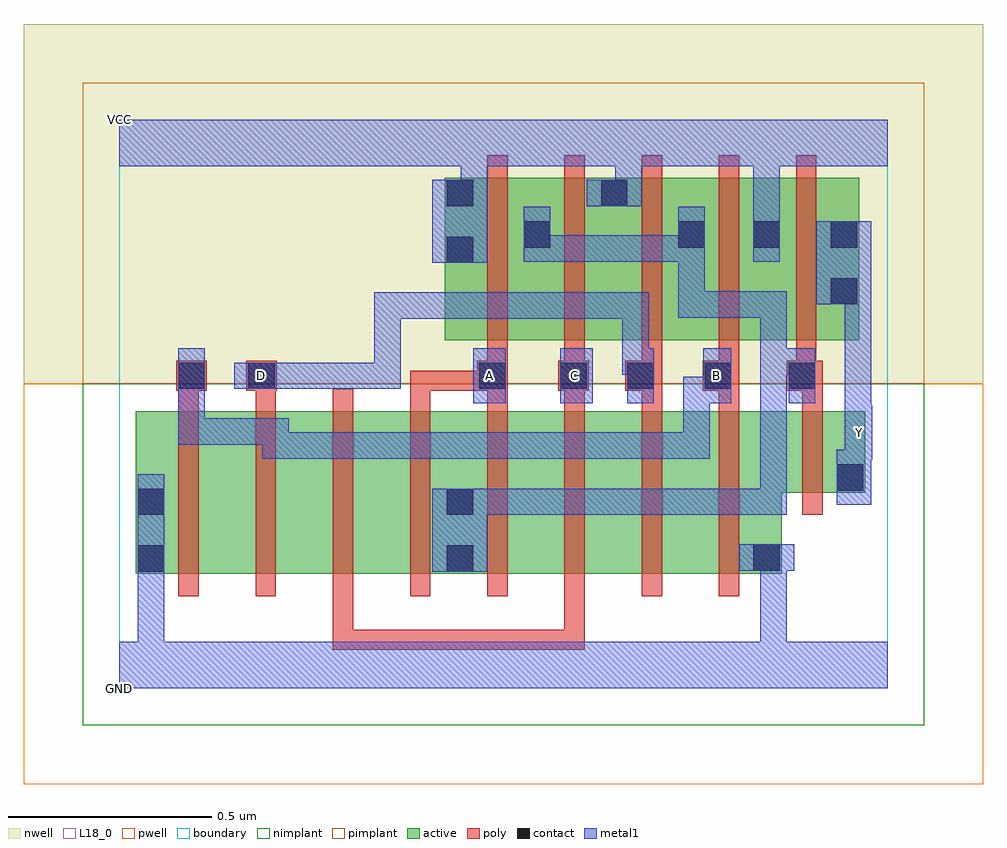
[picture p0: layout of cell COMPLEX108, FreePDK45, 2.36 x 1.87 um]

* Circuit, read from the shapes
.subckt COMPLEX108 A B C D GND VCC Y
M1 n1 B GND VSUBS nfet w=0.4u l=0.05u
M2 n2 D n1 VSUBS nfet w=0.4u l=0.05u
M3 n3 C n2 VSUBS nfet w=0.4u l=0.05u
M4 n4 A n3 VSUBS nfet w=0.4u l=0.05u
M5 n5 A n4 VSUBS nfet w=0.4u l=0.05u
M6 n6 C n5 VSUBS nfet w=0.4u l=0.05u
M7 n7 D n6 VSUBS nfet w=0.4u l=0.05u
M8 GND B n7 VSUBS nfet w=0.4u l=0.05u
M9 Y n4 GND VSUBS nfet w=0.2u l=0.05u
M10 n4 A VCC n8 pfet w=0.4u l=0.05u
M11 VCC C n4 n8 pfet w=0.4u l=0.05u
M12 n4 D VCC n8 pfet w=0.4u l=0.05u
M13 VCC B n4 n8 pfet w=0.4u l=0.05u
M14 Y n4 VCC n8 pfet w=0.4u l=0.05u
.ends

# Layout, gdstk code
import gdstk
lib = gdstk.Library(unit=1e-6, precision=1e-09)
def R(c, l, rs):  # rectangles x0, y0, x1, y1
    for r in rs: c.add(gdstk.rectangle(r[:2], r[2:], *l))
def A(c, l, x, y, w, h, nx, ny, dx, dy):  # array of equal rectangles
    R(c, l, [(x+i*dx, y+j*dy, x+i*dx+w, y+j*dy+h) for i in range(nx) for j in range(ny)])
active = (1, 0)
pwell = (2, 0)
nwell = (3, 0)
nimplant = (4, 0)
pimplant = (5, 0)
poly = (9, 0)
contact = (10, 0)
metal1 = (11, 0)
L18_0 = (18, 0)
boundary = (235, 0)

complex108 = lib.new_cell('COMPLEX108')
A(complex108, active, 0.8, 0.857, 0.265, 0.4, 3, 1, 0.19, 0)
R(complex108, active, [(0.04,0.282,0.265,0.682), (0.04,0.282,0.115,0.682), (0.265,0.282,0.455,0.682), (0.455,0.282,0.645,0.682), (0.645,0.282,0.875,0.682), (0.8,0.282,1.025,0.682), (0.8,0.282,0.875,0.617), (1.025,0.282,1.215,0.682), (1.215,0.282,1.405,0.682), (1.405,0.282,1.63,0.682), (1.555,0.282,1.63,0.482), (1.555,0.482,1.835,0.682), (1.76,0.482,1.835,0.682), (0.8,0.857,0.875,1.257), (1.37,0.857,1.63,1.257), (1.555,0.857,1.63,1.257), (1.555,0.857,1.82,1.257), (1.745,0.857,1.82,1.2), (0.99,0.907,1.065,1.2), (1.18,0.907,1.255,1.257), (1.37,0.907,1.445,1.2)])
R(complex108, pwell, [(-0.235,-0.235,2.125,0.75)])
R(complex108, nwell, [(-0.235,0.75,2.125,1.635)])
R(complex108, nimplant, [(-0.09,-0.09,1.98,0.75)])
R(complex108, pimplant, [(-0.09,0.75,1.98,1.49)])
A(complex108, poly, 0.145, 0.227, 0.05, 0.51, 8, 1, 0.19, 0)
A(complex108, poly, 0.715, 0.687, 0.05, 0.095, 5, 1, 0.19, 0)
A(complex108, poly, 0.905, 0.757, 0.05, 0.095, 5, 1, 0.19, 0)
A(complex108, poly, 0.905, 0.802, 0.05, 0.51, 5, 1, 0.19, 0)
R(complex108, poly, [(0.525,0.095,0.575,0.277), (0.525,0.095,0.575,0.145), (0.525,0.095,0.575,0.145), (0.525,0.095,0.575,0.145), (0.525,0.095,0.765,0.145), (0.715,0.095,0.765,0.145), (0.715,0.095,0.765,0.145), (0.715,0.095,0.765,0.145), (0.715,0.095,0.897,0.145), (0.847,0.095,1.145,0.145), (0.847,0.095,0.897,0.145), (0.847,0.095,0.897,0.145), (0.847,0.095,0.897,0.145), (1.095,0.095,1.145,0.277), (1.095,0.095,1.145,0.145), (1.68,0.427,1.73,0.737), (0.145,0.687,0.195,0.782), (0.335,0.687,0.385,0.782), (1.68,0.687,1.73,0.782), (0.14,0.732,0.215,0.807), (0.312,0.732,0.387,0.807), (0.715,0.732,0.765,0.782), (0.715,0.732,0.765,0.782), (0.715,0.732,0.765,0.782), (0.715,0.732,0.93,0.782), (0.88,0.732,0.955,0.807), (1.08,0.732,1.155,0.807), (1.245,0.732,1.335,0.807), (1.435,0.732,1.525,0.807), (1.642,0.732,1.73,0.807)])
R(complex108, contact, [(0.045,0.287,0.11,0.352), (0.805,0.287,0.87,0.352), (1.56,0.29,1.625,0.355), (0.045,0.427,0.11,0.492), (0.805,0.427,0.87,0.492), (1.765,0.487,1.83,0.552), (0.145,0.737,0.21,0.802), (0.317,0.737,0.382,0.802), (0.885,0.737,0.95,0.802), (1.085,0.737,1.15,0.802), (1.25,0.737,1.315,0.802), (1.44,0.737,1.505,0.802), (1.647,0.737,1.712,0.802), (1.75,0.945,1.815,1.01), (0.805,1.047,0.87,1.112), (0.995,1.085,1.06,1.15), (1.375,1.085,1.44,1.15), (1.56,1.085,1.625,1.15), (1.75,1.085,1.815,1.15), (0.805,1.187,0.87,1.252), (1.185,1.187,1.25,1.252)])
R(complex108, metal1, [(0,0,1.89,0.115), (0.045,0.05,0.11,0.115), (0.045,0.05,0.11,0.115), (0.045,0.05,0.11,0.317), (1.577,0.05,1.642,0.355), (0.045,0.252,0.11,0.527), (0.77,0.287,0.905,0.492), (1.525,0.29,1.66,0.355), (1.577,0.29,1.642,0.355), (1.577,0.29,1.642,0.355), (0.84,0.427,0.905,0.492), (0.84,0.427,0.905,0.492), (0.84,0.427,1.072,0.492), (1.007,0.427,1.072,0.492), (1.007,0.427,1.072,0.492), (1.007,0.427,1.072,0.492), (1.007,0.427,1.302,0.492), (1.237,0.427,1.302,0.492), (1.237,0.427,1.302,0.492), (1.237,0.427,1.302,0.492), (1.237,0.427,1.44,0.492), (1.375,0.427,1.44,0.492), (1.375,0.427,1.452,0.492), (1.387,0.427,1.642,0.492), (1.387,0.427,1.452,0.492), (1.577,0.427,1.642,0.492), (1.577,0.427,1.642,0.492), (1.577,0.427,1.642,0.492), (1.577,0.427,1.642,0.837), (1.765,0.452,1.85,0.587), (1.785,0.522,1.85,0.627), (1.785,0.562,1.852,0.697), (0.352,0.565,0.555,0.63), (0.352,0.565,0.417,0.665), (0.49,0.565,0.555,0.63), (0.49,0.565,0.555,0.63), (0.49,0.565,0.555,0.63), (0.49,0.565,0.697,0.63), (0.632,0.565,0.697,0.63), (0.632,0.565,0.697,0.63), (0.632,0.565,0.697,0.63), (0.632,0.565,0.835,0.63), (0.77,0.565,0.835,0.63), (0.77,0.565,0.835,0.63), (0.77,0.565,0.835,0.63), (0.77,0.565,1.072,0.63), (1.007,0.565,1.072,0.63), (1.007,0.565,1.072,0.63), (1.007,0.565,1.072,0.63), (1.007,0.565,1.302,0.63), (1.237,0.565,1.302,0.63), (1.237,0.565,1.302,0.63), (1.237,0.565,1.302,0.63), (1.237,0.565,1.452,0.63), (1.387,0.565,1.452,0.63), (1.387,0.565,1.452,0.767), (0.145,0.6,0.21,0.665), (0.145,0.6,0.417,0.665), (0.145,0.6,0.21,0.767), (1.785,0.632,1.85,1.01), (0.145,0.702,0.21,0.837), (0.145,0.702,0.21,0.767), (0.145,0.702,0.21,0.767), (0.87,0.702,0.95,0.837), (1.085,0.702,1.165,0.837), (1.25,0.702,1.315,0.837), (1.387,0.702,1.452,0.767), (1.387,0.702,1.502,0.767), (1.437,0.702,1.505,0.837), (1.647,0.702,1.712,0.837), (0.282,0.737,0.417,0.802), (0.352,0.737,0.555,0.802), (0.49,0.737,0.555,0.802), (0.49,0.737,0.555,0.802), (0.49,0.737,0.555,0.802), (0.49,0.737,0.692,0.802), (0.627,0.737,0.692,0.802), (0.627,0.737,0.692,0.975), (1.237,0.772,1.302,0.837), (1.237,0.772,1.302,0.975), (1.237,0.772,1.315,0.837), (1.577,0.772,1.712,0.837), (1.577,0.772,1.642,0.977), (1.577,0.772,1.642,0.837), (0.627,0.91,0.692,0.975), (0.627,0.91,0.692,0.975), (0.627,0.91,0.692,0.975), (0.627,0.91,0.835,0.975), (0.77,0.91,0.835,0.975), (0.77,0.91,0.835,0.975), (0.77,0.91,0.835,0.975), (0.77,0.91,1.077,0.975), (1.012,0.91,1.077,0.975), (1.012,0.91,1.165,0.975), (1.1,0.91,1.165,0.975), (1.1,0.91,1.302,0.975), (1.237,0.91,1.302,0.975), (1.375,0.912,1.44,0.977), (1.375,0.912,1.452,0.977), (1.375,0.912,1.44,1.115), (1.387,0.912,1.642,0.977), (1.387,0.912,1.452,0.977), (1.577,0.912,1.642,0.977), (1.715,0.945,1.85,1.15), (0.77,1.047,0.905,1.252), (0.995,1.05,1.06,1.185), (0.995,1.05,1.06,1.115), (0.995,1.05,1.06,1.115), (0.995,1.05,1.302,1.115), (1.237,1.05,1.302,1.115), (1.237,1.05,1.302,1.115), (1.237,1.05,1.302,1.115), (1.237,1.05,1.44,1.115), (1.375,1.05,1.44,1.185), (1.56,1.05,1.625,1.185), (1.56,1.12,1.625,1.35), (0.84,1.187,0.905,1.35), (1.15,1.187,1.285,1.252), (1.22,1.187,1.285,1.35), (0,1.285,1.89,1.4)])
R(complex108, L18_0, [(0,0,1.89,0.115), (0.045,0.05,0.11,0.115), (0.045,0.05,0.11,0.115), (0.045,0.05,0.11,0.317), (1.577,0.05,1.642,0.355), (0.045,0.252,0.11,0.527), (1.525,0.29,1.66,0.355), (1.577,0.29,1.642,0.355), (1.577,0.29,1.642,0.355), (1.765,0.452,1.85,0.587), (1.785,0.522,1.85,0.627), (1.785,0.562,1.852,0.697), (0.352,0.565,0.417,0.665), (0.352,0.565,0.555,0.63), (0.49,0.565,0.555,0.63), (0.49,0.565,0.555,0.63), (0.49,0.565,0.555,0.63), (0.49,0.565,0.697,0.63), (0.632,0.565,0.697,0.63), (0.632,0.565,0.697,0.63), (0.632,0.565,0.697,0.63), (0.632,0.565,0.835,0.63), (0.77,0.565,0.835,0.63), (0.77,0.565,0.835,0.63), (0.77,0.565,0.835,0.63), (0.77,0.565,1.072,0.63), (1.007,0.565,1.072,0.63), (1.007,0.565,1.072,0.63), (1.007,0.565,1.072,0.63), (1.007,0.565,1.302,0.63), (1.237,0.565,1.302,0.63), (1.237,0.565,1.302,0.63), (1.237,0.565,1.302,0.63), (1.237,0.565,1.452,0.63), (1.387,0.565,1.452,0.63), (1.387,0.565,1.452,0.767), (1.787,0.597,1.852,0.662), (0.145,0.6,0.21,0.665), (0.145,0.6,0.21,0.767), (0.145,0.6,0.417,0.665), (1.785,0.632,1.85,1.01), (0.145,0.702,0.21,0.767), (0.145,0.702,0.21,0.767), (0.145,0.702,0.21,0.837), (0.87,0.702,0.95,0.837), (1.085,0.702,1.165,0.837), (1.25,0.702,1.315,0.837), (1.387,0.702,1.452,0.767), (1.387,0.702,1.502,0.767), (1.437,0.702,1.505,0.837), (0.282,0.737,0.417,0.802), (0.317,0.737,0.382,0.802), (0.352,0.737,0.555,0.802), (0.49,0.737,0.555,0.802), (0.49,0.737,0.555,0.802), (0.49,0.737,0.555,0.802), (0.49,0.737,0.692,0.802), (0.627,0.737,0.692,0.802), (0.627,0.737,0.692,0.975), (0.877,0.737,0.942,0.802), (1.087,0.737,1.152,0.802), (1.437,0.737,1.502,0.802), (1.237,0.772,1.302,0.837), (1.237,0.772,1.302,0.975), (1.237,0.772,1.315,0.837), (0.627,0.91,0.692,0.975), (0.627,0.91,0.692,0.975), (0.627,0.91,0.692,0.975), (0.627,0.91,0.835,0.975), (0.77,0.91,0.835,0.975), (0.77,0.91,0.835,0.975), (0.77,0.91,0.835,0.975), (0.77,0.91,1.077,0.975), (1.012,0.91,1.077,0.975), (1.012,0.91,1.165,0.975), (1.1,0.91,1.165,0.975), (1.1,0.91,1.302,0.975), (1.237,0.91,1.302,0.975), (1.715,0.945,1.85,1.15), (0.77,1.047,0.905,1.252), (1.56,1.05,1.625,1.185), (1.56,1.12,1.625,1.35), (0.84,1.187,0.905,1.35), (1.15,1.187,1.285,1.252), (1.22,1.187,1.285,1.35), (0,1.285,1.89,1.4)])
R(complex108, boundary, [(0,0,1.89,1.4)])
complex108.add(gdstk.Label('A', (0.91,0.77), layer=11, texttype=0))
complex108.add(gdstk.Label('B', (1.47,0.77), layer=11, texttype=0))
complex108.add(gdstk.Label('C', (1.12,0.77), layer=11, texttype=0))
complex108.add(gdstk.Label('D', (0.35,0.77), layer=11, texttype=0))
complex108.add(gdstk.Label('Y', (1.82,0.63), layer=11, texttype=0))
complex108.add(gdstk.Label('VCC', (0,1.4), layer=11, texttype=0))
complex108.add(gdstk.Label('GND', (0,0), layer=11, texttype=0))

lib.write_gds('COMPLEX108.gds')
